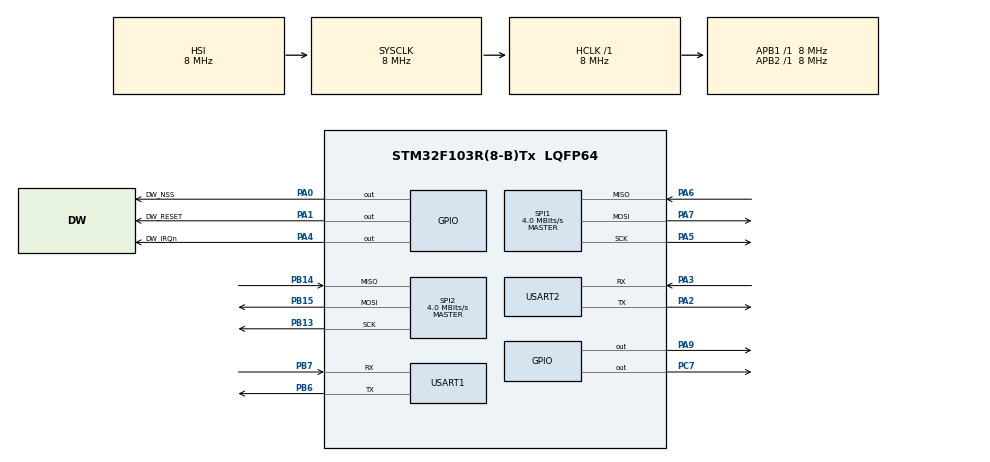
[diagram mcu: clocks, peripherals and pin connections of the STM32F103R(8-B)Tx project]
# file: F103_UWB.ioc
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Mcu.Family=STM32F1
Mcu.Name=STM32F103R(8-B)Tx
Mcu.Package=LQFP64
NVIC.PriorityGroup=NVIC_PRIORITYGROUP_4
PA0-WKUP.GPIO_Label=DW_NSS
PA0-WKUP.Signal=GPIO_Output
PA1.GPIO_Label=DW_RESET
PA1.Signal=GPIO_Output
PA13.Mode=Serial_Wire
PA13.Signal=SYS_JTMS-SWDIO
PA14.Mode=Serial_Wire
PA14.Signal=SYS_JTCK-SWCLK
PA2.Mode=Asynchronous
PA2.Signal=USART2_TX
PA3.Mode=Asynchronous
PA3.Signal=USART2_RX
PA4.GPIO_Label=DW_IRQn
PA4.Signal=GPIO_Output
PA5.Mode=Full_Duplex_Master
PA5.Signal=SPI1_SCK
PA6.Mode=Full_Duplex_Master
PA6.Signal=SPI1_MISO
PA7.Mode=Full_Duplex_Master
PA7.Signal=SPI1_MOSI
PA9.Signal=GPIO_Output
PB13.Mode=Full_Duplex_Master
PB13.Signal=SPI2_SCK
PB14.Mode=Full_Duplex_Master
PB14.Signal=SPI2_MISO
PB15.Mode=Full_Duplex_Master
PB15.Signal=SPI2_MOSI
PB6.Mode=Asynchronous
PB6.Signal=USART1_TX
PB7.Mode=Asynchronous
PB7.Signal=USART1_RX
PC7.Signal=GPIO_Output
ProjectManager.HeapSize=0x200
ProjectManager.StackSize=0x400
ProjectManager.TargetToolchain=STM32CubeIDE
RCC.AHBFreq_Value=8000000
RCC.APB1Freq_Value=8000000
RCC.APB1TimFreq_Value=8000000
RCC.APB2Freq_Value=8000000
RCC.APB2TimFreq_Value=8000000
RCC.HCLKFreq_Value=8000000
RCC.SYSCLKFreq_VALUE=8000000
RCC.USBFreq_Value=8000000
SPI1.CalculateBaudRate=4.0 MBits/s
SPI1.Direction=SPI_DIRECTION_2LINES
SPI1.Mode=SPI_MODE_MASTER
SPI1.VirtualType=VM_MASTER
SPI2.CalculateBaudRate=4.0 MBits/s
SPI2.Direction=SPI_DIRECTION_2LINES
SPI2.Mode=SPI_MODE_MASTER
SPI2.VirtualType=VM_MASTER
USART1.VirtualMode=VM_ASYNC
USART2.VirtualMode=VM_ASYNC
board=custom

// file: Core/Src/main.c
/* USER CODE BEGIN Header */
/**
  ******************************************************************************
  * @file           : main.c
  * @brief          : Main program body
  ******************************************************************************
  * @attention
  *
  * Copyright (c) 2025 STMicroelectronics.
  * All rights reserved.
  *
  * This software is licensed under terms that can be found in the LICENSE file
  * in the root directory of this software component.
  * If no LICENSE file comes with this software, it is provided AS-IS.
  *
  ******************************************************************************
  */
/* USER CODE END Header */
#include "main.h"

/* USER CODE BEGIN Includes */
#include <stdio.h>
#include <string.h>
#include <math.h>

#include "deca_device_api.h"
#include "deca_regs.h"
#include "DWM_functions.h"
#include "position_detection.h"
/* USER CODE END Includes */

SPI_HandleTypeDef hspi1;
SPI_HandleTypeDef hspi2;

UART_HandleTypeDef huart1;
UART_HandleTypeDef huart2;

/* USER CODE BEGIN PV */
uint8_t hello[] = "!\n\r";
int dist[4];
uint8_t position[2];
char str[50];
/* USER CODE END PV */

void SystemClock_Config(void);
static void MX_GPIO_Init(void);
static void MX_SPI1_Init(void);
static void MX_USART2_UART_Init(void);
static void MX_SPI2_Init(void);
static void MX_USART1_UART_Init(void);

/* USER CODE BEGIN 0 */
extern int ds_twr_init(void);
extern void ds_resp_main(int,int*);
/* USER CODE END 0 */

int main(void)
{

  /* MCU Configuration--------------------------------------------------------*/

  /* Reset of all peripherals, Initializes the Flash interface and the Systick. */
  HAL_Init();

  /* Configure the system clock */
  SystemClock_Config();

  /* Initialize all configured peripherals */
  MX_GPIO_Init();
  MX_SPI1_Init();
  MX_USART2_UART_Init();
  MX_SPI2_Init();
  MX_USART1_UART_Init();
  /* USER CODE BEGIN 2 */

  /* Enable one of them */
  //ss_init_main();   //태거
  //ss_resp_main();   //앵커

  //ds_twr_init();  //앵커
  //ds_resp_main(0); //태거

  sprintf(str, "begin\r\n" );
  HAL_UART_Transmit(&huart2, (uint8_t*)str, strlen(str), 100);

  /* USER CODE END 2 */

  /* Infinite loop */
  while (1)
  {

    /* USER CODE BEGIN 3 */
    ds_resp_main(0, &dist[0]);
    sprintf(str, "Anchor 1 complete\r\n" );
    HAL_UART_Transmit(&huart2, (uint8_t*)str, strlen(str), 100);
    ds_resp_main(1, &dist[1]);
    sprintf(str, "Anchor 2 complete\r\n" );
    HAL_UART_Transmit(&huart2, (uint8_t*)str, strlen(str), 100);
    ds_resp_main(2, &dist[2]);
    sprintf(str, "Anchor 3 complete\r\n" );
    HAL_UART_Transmit(&huart2, (uint8_t*)str, strlen(str), 100);
    ds_resp_main(3, &dist[3]);
    sprintf(str, "Anchor 4 complete\r\n" );
    HAL_UART_Transmit(&huart2, (uint8_t*)str, strlen(str), 100);

    // Transmit to H7B3I or Raspi
    // sprintf(str, "\r\n30,555,1167,1291\r\n ");
    // HAL_Delay(500);
    sprintf(str, "\r\n%d,%d,%d,%d\r\n", dist[0],dist[1],dist[2],dist[3] );
    HAL_UART_Transmit(&huart1, (uint8_t*)str, strlen(str), 100);

    // ------------------ 여기서 부터는 H7B3I 또는 Raspi에서 ---------------------------- //
    uint8_t original_position[2];
    // Debuging print
    sprintf(str, "%d mm | %d mm | %d mm | %d mm\r\n", dist[0],dist[1],dist[2],dist[3]);
    HAL_UART_Transmit(&huart2, (uint8_t*)str, strlen(str), 100);

    // position_detecting and debuging print
    trilaterate(dist, original_position);
    sprintf(str, "Position(cm) : (%d, %d) ", original_position[0], original_position[1]);
    HAL_UART_Transmit(&huart2, (uint8_t*)str, strlen(str), 100);

    // correction to coordinates on path
    correction(original_position, position);
    sprintf(str, "---> (%d, %d)\r\n", position[0],position[1]);
    HAL_UART_Transmit(&huart2, (uint8_t*)str, strlen(str), 100);
  }
  /* USER CODE END 3 */
}

void SystemClock_Config(void)
{
  RCC_OscInitTypeDef RCC_OscInitStruct = {0};
  RCC_ClkInitTypeDef RCC_ClkInitStruct = {0};

  /** Initializes the RCC Oscillators according to the specified parameters
  * in the RCC_OscInitTypeDef structure.
  */
  RCC_OscInitStruct.OscillatorType = RCC_OSCILLATORTYPE_HSI;
  RCC_OscInitStruct.HSIState = RCC_HSI_ON;
  RCC_OscInitStruct.HSICalibrationValue = RCC_HSICALIBRATION_DEFAULT;
  RCC_OscInitStruct.PLL.PLLState = RCC_PLL_NONE;
  if (HAL_RCC_OscConfig(&RCC_OscInitStruct) != HAL_OK)
  {
    Error_Handler();
  }

  /** Initializes the CPU, AHB and APB buses clocks
  */
  RCC_ClkInitStruct.ClockType = RCC_CLOCKTYPE_HCLK|RCC_CLOCKTYPE_SYSCLK
                              |RCC_CLOCKTYPE_PCLK1|RCC_CLOCKTYPE_PCLK2;
  RCC_ClkInitStruct.SYSCLKSource = RCC_SYSCLKSOURCE_HSI;
  RCC_ClkInitStruct.AHBCLKDivider = RCC_SYSCLK_DIV1;
  RCC_ClkInitStruct.APB1CLKDivider = RCC_HCLK_DIV1;
  RCC_ClkInitStruct.APB2CLKDivider = RCC_HCLK_DIV1;

  if (HAL_RCC_ClockConfig(&RCC_ClkInitStruct, FLASH_LATENCY_0) != HAL_OK)
  {
    Error_Handler();
  }
}

static void MX_SPI1_Init(void)
{

  /* SPI1 parameter configuration*/
  hspi1.Instance = SPI1;
  hspi1.Init.Mode = SPI_MODE_MASTER;
  hspi1.Init.Direction = SPI_DIRECTION_2LINES;
  hspi1.Init.DataSize = SPI_DATASIZE_8BIT;
  hspi1.Init.CLKPolarity = SPI_POLARITY_LOW;
  hspi1.Init.CLKPhase = SPI_PHASE_1EDGE;
  hspi1.Init.NSS = SPI_NSS_SOFT;
  hspi1.Init.BaudRatePrescaler = SPI_BAUDRATEPRESCALER_2;
  hspi1.Init.FirstBit = SPI_FIRSTBIT_MSB;
  hspi1.Init.TIMode = SPI_TIMODE_DISABLE;
  hspi1.Init.CRCCalculation = SPI_CRCCALCULATION_DISABLE;
  hspi1.Init.CRCPolynomial = 10;
  if (HAL_SPI_Init(&hspi1) != HAL_OK)
  {
    Error_Handler();
  }

}

static void MX_SPI2_Init(void)
{

  /* SPI2 parameter configuration*/
  hspi2.Instance = SPI2;
  hspi2.Init.Mode = SPI_MODE_MASTER;
  hspi2.Init.Direction = SPI_DIRECTION_2LINES;
  hspi2.Init.DataSize = SPI_DATASIZE_8BIT;
  hspi2.Init.CLKPolarity = SPI_POLARITY_LOW;
  hspi2.Init.CLKPhase = SPI_PHASE_1EDGE;
  hspi2.Init.NSS = SPI_NSS_SOFT;
  hspi2.Init.BaudRatePrescaler = SPI_BAUDRATEPRESCALER_2;
  hspi2.Init.FirstBit = SPI_FIRSTBIT_MSB;
  hspi2.Init.TIMode = SPI_TIMODE_DISABLE;
  hspi2.Init.CRCCalculation = SPI_CRCCALCULATION_DISABLE;
  hspi2.Init.CRCPolynomial = 10;
  if (HAL_SPI_Init(&hspi2) != HAL_OK)
  {
    Error_Handler();
  }

}

static void MX_USART1_UART_Init(void)
{

  huart1.Instance = USART1;
  huart1.Init.BaudRate = 115200;
  huart1.Init.WordLength = UART_WORDLENGTH_8B;
  huart1.Init.StopBits = UART_STOPBITS_1;
  huart1.Init.Parity = UART_PARITY_NONE;
  huart1.Init.Mode = UART_MODE_TX_RX;
  huart1.Init.HwFlowCtl = UART_HWCONTROL_NONE;
  huart1.Init.OverSampling = UART_OVERSAMPLING_16;
  if (HAL_UART_Init(&huart1) != HAL_OK)
  {
    Error_Handler();
  }

}

static void MX_USART2_UART_Init(void)
{

  huart2.Instance = USART2;
  huart2.Init.BaudRate = 115200;
  huart2.Init.WordLength = UART_WORDLENGTH_8B;
  huart2.Init.StopBits = UART_STOPBITS_1;
  huart2.Init.Parity = UART_PARITY_NONE;
  huart2.Init.Mode = UART_MODE_TX_RX;
  huart2.Init.HwFlowCtl = UART_HWCONTROL_NONE;
  huart2.Init.OverSampling = UART_OVERSAMPLING_16;
  if (HAL_UART_Init(&huart2) != HAL_OK)
  {
    Error_Handler();
  }

}

static void MX_GPIO_Init(void)
{
  GPIO_InitTypeDef GPIO_InitStruct = {0};

  /* GPIO Ports Clock Enable */
  __HAL_RCC_GPIOA_CLK_ENABLE();
  __HAL_RCC_GPIOB_CLK_ENABLE();
  __HAL_RCC_GPIOC_CLK_ENABLE();

  /*Configure GPIO pin Output Level */
  HAL_GPIO_WritePin(GPIOA, DW_NSS_Pin|DW_RESET_Pin|DW_IRQn_Pin|GPIO_PIN_9, GPIO_PIN_RESET);

  /*Configure GPIO pin Output Level */
  HAL_GPIO_WritePin(GPIOC, GPIO_PIN_7, GPIO_PIN_RESET);

  /*Configure GPIO pins : DW_NSS_Pin DW_RESET_Pin DW_IRQn_Pin PA9 */
  GPIO_InitStruct.Pin = DW_NSS_Pin|DW_RESET_Pin|DW_IRQn_Pin|GPIO_PIN_9;
  GPIO_InitStruct.Mode = GPIO_MODE_OUTPUT_PP;
  GPIO_InitStruct.Pull = GPIO_NOPULL;
  GPIO_InitStruct.Speed = GPIO_SPEED_FREQ_LOW;
  HAL_GPIO_Init(GPIOA, &GPIO_InitStruct);

  /*Configure GPIO pin : PC7 */
  GPIO_InitStruct.Pin = GPIO_PIN_7;
  GPIO_InitStruct.Mode = GPIO_MODE_OUTPUT_PP;
  GPIO_InitStruct.Pull = GPIO_NOPULL;
  GPIO_InitStruct.Speed = GPIO_SPEED_FREQ_LOW;
  HAL_GPIO_Init(GPIOC, &GPIO_InitStruct);

}

void Error_Handler(void)
{
  __disable_irq();
  while (1)
  {
  }
}
